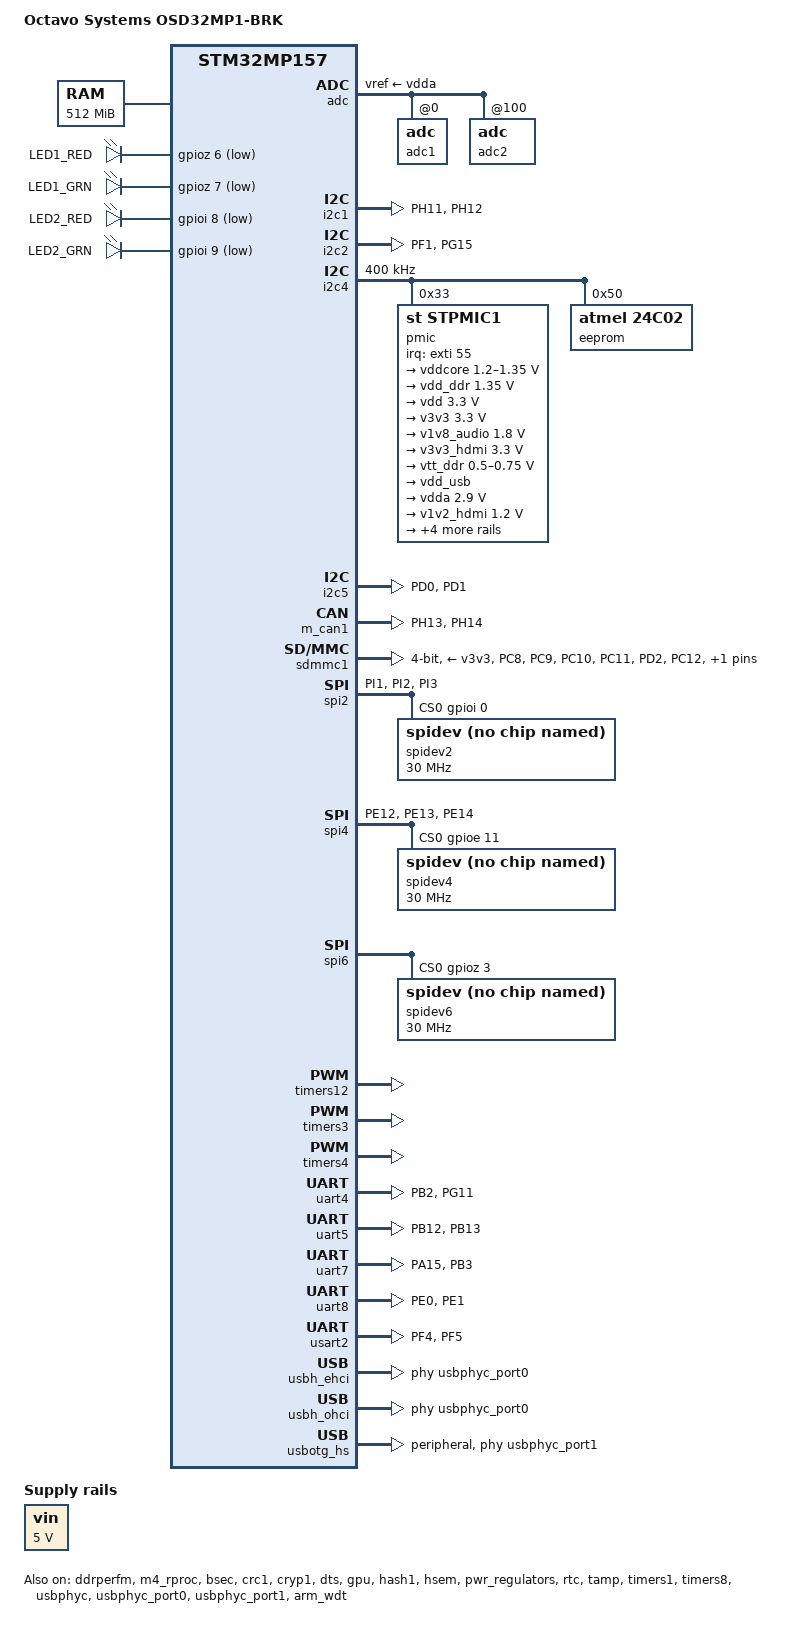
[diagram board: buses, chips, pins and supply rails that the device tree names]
// SPDX-License-Identifier: (GPL-2.0-or-later OR BSD-3-Clause)
/*
 * Copyright (C) 2024, Octavo Systems - All Rights Reserved
 * Author: Neeraj Dantu
 */

/dts-v1/;

#include <dt-bindings/pinctrl/stm32-pinfunc.h>
#include "stm32mp157.dtsi"
#include "stm32mp15xf.dtsi"
#include "stm32mp15xxac-pinctrl.dtsi"
#include "stm32mp15-m4-srm.dtsi"
#include "stm32mp157f-osd32mp1-brk-scmi.dtsi"
#include <dt-bindings/gpio/gpio.h>
#include <dt-bindings/mfd/st,stpmic1.h>
#include <dt-bindings/rtc/rtc-stm32.h>

/ {
	model = "Octavo Systems OSD32MP1-BRK";
	compatible = "oct,stm32mp157f-osd32mp1-brk", "st,stm32mp157";

	memory@c0000000 {
		device_type = "memory";
		reg = <0xc0000000 0x20000000>;
	};

	reserved-memory {
		#address-cells = <1>;
		#size-cells = <1>;
		ranges;

		mcuram2: mcuram2@10000000 {
			compatible = "shared-dma-pool";
			reg = <0x10000000 0x40000>;
			no-map;
		};

		vdev0vring0: vdev0vring0@10040000 {
			compatible = "shared-dma-pool";
			reg = <0x10040000 0x1000>;
			no-map;
		};

		vdev0vring1: vdev0vring1@10041000 {
			compatible = "shared-dma-pool";
			reg = <0x10041000 0x1000>;
			no-map;
		};

		vdev0buffer: vdev0buffer@10042000 {
			compatible = "shared-dma-pool";
			reg = <0x10042000 0x4000>;
			no-map;
		};

		mcu_rsc_table: mcu-rsc-table@10048000 {
			compatible = "shared-dma-pool";
			reg = <0x10048000 0x8000>;
			no-map;
		};

		mcuram: mcuram@30000000 {
			compatible = "shared-dma-pool";
			reg = <0x30000000 0x40000>;
			no-map;
		};

		retram: retram@38000000 {
			compatible = "shared-dma-pool";
			reg = <0x38000000 0x10000>;
			no-map;
		};

		gpu_reserved: gpu@d4000000 {
			reg = <0xd4000000 0x4000000>;
			no-map;
		};

		/* global autoconfigured region for contiguous allocations */
		linux,cma {
			compatible = "shared-dma-pool";
			reusable;
			size = <0x8000000>;
			alignment = <0x2000>;
			linux,cma-default;
		};
	};

	aliases {
		i2c4 = &i2c4;
		i2c1 = &i2c1;
		i2c2 = &i2c2;
		i2c5 = &i2c5;
		serial0 = &uart4;
		serial2 = &usart2;
		serial5 = &uart5;
		serial7 = &uart7;
		serial8 = &uart8;
	};

	chosen {
		stdout-path = "serial0:115200n8";
	};

	vin: vin {
		compatible = "regulator-fixed";
		regulator-name = "vin";
		regulator-min-microvolt = <5000000>;
		regulator-max-microvolt = <5000000>;
		regulator-always-on;
	};
	
	led{
		compatible = "gpio-leds";

		red1{
			label = "LED1_RED";
			gpios = <&gpioz 6 GPIO_ACTIVE_LOW>;
			linux,default-trigger = "heartbeat";
			status = "okay";
			default-state = "off";
		};

		green1{
			label = "LED1_GRN";
			gpios = <&gpioz 7 GPIO_ACTIVE_LOW>;
			status = "okay";
			default-state = "on";
		};

		red2{
			label = "LED2_RED";
			gpios = <&gpioi 8 GPIO_ACTIVE_LOW>;
			status = "okay";
			default-state = "off";
		};

		green2{
			label = "LED2_GRN";
			gpios = <&gpioi 9 GPIO_ACTIVE_LOW>;
			default-state = "off";
		};
	};
}; /*root*/

&pinctrl {

	fdcan1_pins_mx: fdcan1_mx-0 {
		pins1 {
			pinmux = <STM32_PINMUX('H', 13, AF9)>; /* FDCAN1_TX */
			bias-disable;
			drive-push-pull;
			slew-rate = <0>;
		};
		pins2 {
			pinmux = <STM32_PINMUX('H', 14, AF9)>; /* FDCAN1_RX */
			bias-disable;
		};
	};

	fdcan1_sleep_pins_mx: fdcan1_sleep_mx-0 {
		pins {
			pinmux = <STM32_PINMUX('H', 13, ANALOG)>, /* FDCAN1_TX */
					 <STM32_PINMUX('H', 14, ANALOG)>; /* FDCAN1_RX */
		};
	};

	i2c1_pins_mx: i2c1_mx-0 {
		pins {
			pinmux = <STM32_PINMUX('H', 11, AF5)>, /* I2C1_SCL */
					 <STM32_PINMUX('H', 12, AF5)>; /* I2C1_SDA */
			bias-disable;
			drive-open-drain;
			slew-rate = <0>;
		};
	};

	i2c1_sleep_pins_mx: i2c1_sleep_mx-0 {
		pins {
			pinmux = <STM32_PINMUX('H', 11, ANALOG)>, /* I2C1_SCL */
					 <STM32_PINMUX('H', 12, ANALOG)>; /* I2C1_SDA */
		};
	};

	i2c2_pins_mx: i2c2_mx-0 {
		pins {
			pinmux = <STM32_PINMUX('F', 1, AF4)>, /* I2C2_SCL */
					 <STM32_PINMUX('G', 15, AF4)>; /* I2C2_SDA */
			bias-disable;
			drive-open-drain;
			slew-rate = <0>;
		};
	};

	i2c2_sleep_pins_mx: i2c2_sleep_mx-0 {
		pins {
			pinmux = <STM32_PINMUX('F', 1, ANALOG)>, /* I2C2_SCL */
					 <STM32_PINMUX('G', 15, ANALOG)>; /* I2C2_SDA */
		};
	};

	i2c5_pins_mx: i2c5_mx-0 {
		pins {
			pinmux = <STM32_PINMUX('D', 0, AF4)>, /* I2C5_SDA */
					 <STM32_PINMUX('D', 1, AF4)>; /* I2C5_SCL */
			bias-disable;
			drive-open-drain;
			slew-rate = <0>;
		};
	};

	i2c5_sleep_pins_mx: i2c5_sleep_mx-0 {
		pins {
			pinmux = <STM32_PINMUX('D', 0, ANALOG)>, /* I2C5_SDA */
					 <STM32_PINMUX('D', 1, ANALOG)>; /* I2C5_SCL */
		};
	};

	sdmmc1_pins_mx: sdmmc1_mx-0 {
		pins1 {
			pinmux = <STM32_PINMUX('C', 8, AF12)>, /* SDMMC1_D0 */
					 <STM32_PINMUX('C', 9, AF12)>, /* SDMMC1_D1 */
					 <STM32_PINMUX('C', 10, AF12)>, /* SDMMC1_D2 */
					 <STM32_PINMUX('C', 11, AF12)>, /* SDMMC1_D3 */
					 <STM32_PINMUX('D', 2, AF12)>; /* SDMMC1_CMD */
			bias-disable;
			drive-push-pull;
			slew-rate = <1>;
		};
		pins2 {
			pinmux = <STM32_PINMUX('C', 12, AF12)>; /* SDMMC1_CK */
			bias-disable;
			drive-push-pull;
			slew-rate = <3>;
		};
	};

	sdmmc1_opendrain_pins_mx: sdmmc1_opendrain_mx-0 {
		pins1 {
			pinmux = <STM32_PINMUX('C', 8, AF12)>, /* SDMMC1_D0 */
					 <STM32_PINMUX('C', 9, AF12)>, /* SDMMC1_D1 */
					 <STM32_PINMUX('C', 10, AF12)>, /* SDMMC1_D2 */
					 <STM32_PINMUX('C', 11, AF12)>; /* SDMMC1_D3 */
			bias-disable;
			drive-push-pull;
			slew-rate = <1>;
		};
		pins2 {
			pinmux = <STM32_PINMUX('C', 12, AF12)>; /* SDMMC1_CK */
			bias-disable;
			drive-push-pull;
			slew-rate = <3>;
		};
		pins3 {
			pinmux = <STM32_PINMUX('D', 2, AF12)>; /* SDMMC1_CMD */
			bias-disable;
			drive-open-drain;
			slew-rate = <1>;
		};
	};

	sdmmc1_sleep_pins_mx: sdmmc1_sleep_mx-0 {
		pins {
			pinmux = <STM32_PINMUX('C', 8, ANALOG)>, /* SDMMC1_D0 */
					 <STM32_PINMUX('C', 9, ANALOG)>, /* SDMMC1_D1 */
					 <STM32_PINMUX('C', 10, ANALOG)>, /* SDMMC1_D2 */
					 <STM32_PINMUX('C', 11, ANALOG)>, /* SDMMC1_D3 */
					 <STM32_PINMUX('C', 12, ANALOG)>, /* SDMMC1_CK */
					 <STM32_PINMUX('D', 2, ANALOG)>; /* SDMMC1_CMD */
		};
	};

	spi2_pins_mx: spi2_mx-0 {
		pins {
			pinmux = <STM32_PINMUX('I', 1, AF5)>, /* SPI2_SCK */
					 <STM32_PINMUX('I', 2, AF5)>, /* SPI2_MISO */
					 <STM32_PINMUX('I', 3, AF5)>; /* SPI2_MOSI */
			bias-disable;
			drive-push-pull;
			slew-rate = <1>;
		};
	};

	spi2_sleep_pins_mx: spi2_sleep_mx-0 {
		pins {
			pinmux = <STM32_PINMUX('I', 1, ANALOG)>, /* SPI2_SCK */
					 <STM32_PINMUX('I', 2, ANALOG)>, /* SPI2_MISO */
					 <STM32_PINMUX('I', 3, ANALOG)>; /* SPI2_MOSI */
		};
	};

	spi4_pins_mx: spi4_mx-0 {
		pins {
			pinmux = <STM32_PINMUX('E', 12, AF5)>, /* SPI4_SCK */
					 <STM32_PINMUX('E', 13, AF5)>, /* SPI4_MISO */
					 <STM32_PINMUX('E', 14, AF5)>; /* SPI4_MOSI */
			bias-disable;
			drive-push-pull;
			slew-rate = <1>;
		};
	};

	spi4_sleep_pins_mx: spi4_sleep_mx-0 {
		pins {
			pinmux = <STM32_PINMUX('E', 12, ANALOG)>, /* SPI4_SCK */
					 <STM32_PINMUX('E', 13, ANALOG)>, /* SPI4_MISO */
					 <STM32_PINMUX('E', 14, ANALOG)>; /* SPI4_MOSI */
		};
	};

	tim1_pins_mx: tim1_mx-0 {
		pins {
			pinmux = <STM32_PINMUX('A', 9, AF1)>; /* TIM1_CH2 */
			bias-disable;
			drive-push-pull;
			slew-rate = <0>;
		};
	};

	tim1_sleep_pins_mx: tim1_sleep_mx-0 {
		pins {
			pinmux = <STM32_PINMUX('A', 9, ANALOG)>; /* TIM1_CH2 */
		};
	};

	tim12_pwm_pins_mx: tim12_pwm_mx-0 {
		pins {
			pinmux = <STM32_PINMUX('H', 9, AF2)>; /* TIM12_CH2 */
			bias-disable;
			drive-push-pull;
			slew-rate = <0>;
		};
	};

	tim12_pwm_sleep_pins_mx: tim12_pwm_sleep_mx-0 {
		pins {
			pinmux = <STM32_PINMUX('H', 9, ANALOG)>; /* TIM12_CH2 */
		};
	};

	tim3_pwm_pins_mx: tim3_pwm_mx-0 {
		pins {
			pinmux = <STM32_PINMUX('B', 5, AF2)>; /* TIM3_CH2 */
			bias-disable;
			drive-push-pull;
			slew-rate = <0>;
		};
	};

	tim3_pwm_sleep_pins_mx: tim3_pwm_sleep_mx-0 {
		pins {
			pinmux = <STM32_PINMUX('B', 5, ANALOG)>; /* TIM3_CH2 */
		};
	};

	tim4_pwm_pins_mx: tim4_pwm_mx-0 {
		pins {
			pinmux = <STM32_PINMUX('B', 7, AF2)>; /* TIM4_CH2 */
			bias-disable;
			drive-push-pull;
			slew-rate = <0>;
		};
	};

	tim4_pwm_sleep_pins_mx: tim4_pwm_sleep_mx-0 {
		pins {
			pinmux = <STM32_PINMUX('B', 7, ANALOG)>; /* TIM4_CH2 */
		};
	};

	tim8_pins_mx: tim8_mx-0 {
		pins {
			pinmux = <STM32_PINMUX('I', 6, AF3)>; /* TIM8_CH2 */
			bias-disable;
			drive-push-pull;
			slew-rate = <0>;
		};
	};

	tim8_sleep_pins_mx: tim8_sleep_mx-0 {
		pins {
			pinmux = <STM32_PINMUX('I', 6, ANALOG)>; /* TIM8_CH2 */
		};
	};

	uart4_pins_mx: uart4_mx-0 {
		pins1 {
			pinmux = <STM32_PINMUX('B', 2, AF8)>; /* UART4_RX */
			bias-pull-up;
		};
		pins2 {
			pinmux = <STM32_PINMUX('G', 11, AF6)>; /* UART4_TX */
			bias-disable;
			drive-push-pull;
			slew-rate = <0>;
		};
	};

	uart4_idle_pins_mx: uart4_idle_mx-0 {
		pins1 {
			pinmux = <STM32_PINMUX('B', 2, AF8)>; /* UART4_RX */
			bias-pull-up;
		};
		pins2 {
			pinmux = <STM32_PINMUX('G', 11, ANALOG)>; /* UART4_TX */
		};
	};

	uart4_sleep_pins_mx: uart4_sleep_mx-0 {
		pins {
			pinmux = <STM32_PINMUX('B', 2, ANALOG)>, /* UART4_RX */
					 <STM32_PINMUX('G', 11, ANALOG)>; /* UART4_TX */
		};
	};

	uart5_pins_mx: uart5_mx-0 {
		pins1 {
			pinmux = <STM32_PINMUX('B', 12, AF14)>; /* UART5_RX */
			bias-disable;
		};
		pins2 {
			pinmux = <STM32_PINMUX('B', 13, AF14)>; /* UART5_TX */
			bias-disable;
			drive-push-pull;
			slew-rate = <0>;
		};
	};

	uart5_idle_pins_mx: uart5_idle_mx-0 {
		pins1 {
			pinmux = <STM32_PINMUX('B', 12, AF14)>; /* UART5_RX */
			bias-disable;
		};
		pins2 {
			pinmux = <STM32_PINMUX('B', 13, ANALOG)>; /* UART5_TX */
		};
	};

	uart5_sleep_pins_mx: uart5_sleep_mx-0 {
		pins {
			pinmux = <STM32_PINMUX('B', 12, ANALOG)>, /* UART5_RX */
					 <STM32_PINMUX('B', 13, ANALOG)>; /* UART5_TX */
		};
	};

	uart7_pins_mx: uart7_mx-0 {
		pins1 {
			pinmux = <STM32_PINMUX('A', 15, AF13)>; /* UART7_TX */
			bias-disable;
			drive-push-pull;
			slew-rate = <0>;
		};
		pins2 {
			pinmux = <STM32_PINMUX('B', 3, AF13)>; /* UART7_RX */
			bias-disable;
		};
	};

	uart7_idle_pins_mx: uart7_idle_mx-0 {
		pins1 {
			pinmux = <STM32_PINMUX('A', 15, ANALOG)>; /* UART7_TX */
		};
		pins2 {
			pinmux = <STM32_PINMUX('B', 3, AF13)>; /* UART7_RX */
			bias-disable;
		};
	};

	uart7_sleep_pins_mx: uart7_sleep_mx-0 {
		pins {
			pinmux = <STM32_PINMUX('A', 15, ANALOG)>, /* UART7_TX */
					 <STM32_PINMUX('B', 3, ANALOG)>; /* UART7_RX */
		};
	};

	uart8_pins_mx: uart8_mx-0 {
		pins1 {
			pinmux = <STM32_PINMUX('E', 0, AF8)>; /* UART8_RX */
			bias-disable;
		};
		pins2 {
			pinmux = <STM32_PINMUX('E', 1, AF8)>; /* UART8_TX */
			bias-disable;
			drive-push-pull;
			slew-rate = <0>;
		};
	};

	uart8_idle_pins_mx: uart8_idle_mx-0 {
		pins1 {
			pinmux = <STM32_PINMUX('E', 0, AF8)>; /* UART8_RX */
			bias-disable;
		};
		pins2 {
			pinmux = <STM32_PINMUX('E', 1, ANALOG)>; /* UART8_TX */
		};
	};

	uart8_sleep_pins_mx: uart8_sleep_mx-0 {
		pins {
			pinmux = <STM32_PINMUX('E', 0, ANALOG)>, /* UART8_RX */
					 <STM32_PINMUX('E', 1, ANALOG)>; /* UART8_TX */
		};
	};

	usart2_pins_mx: usart2_mx-0 {
		pins1 {
			pinmux = <STM32_PINMUX('F', 4, AF7)>; /* USART2_RX */
			bias-disable;
		};
		pins2 {
			pinmux = <STM32_PINMUX('F', 5, AF7)>; /* USART2_TX */
			bias-disable;
			drive-push-pull;
			slew-rate = <0>;
		};
	};

	usart2_idle_pins_mx: usart2_idle_mx-0 {
		pins1 {
			pinmux = <STM32_PINMUX('F', 4, AF7)>; /* USART2_RX */
			bias-disable;
		};
		pins2 {
			pinmux = <STM32_PINMUX('F', 5, ANALOG)>; /* USART2_TX */
		};
	};

	usart2_sleep_pins_mx: usart2_sleep_mx-0 {
		pins {
			pinmux = <STM32_PINMUX('F', 4, ANALOG)>, /* USART2_RX */
					 <STM32_PINMUX('F', 5, ANALOG)>; /* USART2_TX */
		};
	};
};

&pinctrl_z {

	i2c4_pins_z_mx: i2c4_mx-0 {
		pins {
			pinmux = <STM32_PINMUX('Z', 4, AF6)>, /* I2C4_SCL */
					 <STM32_PINMUX('Z', 5, AF6)>; /* I2C4_SDA */
			bias-pull-up;
			drive-open-drain;
			slew-rate = <0>;
		};
	};

	i2c4_sleep_pins_z_mx: i2c4_sleep_mx-0 {
		pins {
			pinmux = <STM32_PINMUX('Z', 4, ANALOG)>, /* I2C4_SCL */
					 <STM32_PINMUX('Z', 5, ANALOG)>; /* I2C4_SDA */
		};
	};

	spi6_pins_z_mx: spi6_mx-0 {
		pins {
			pinmux = <STM32_PINMUX('Z', 0, AF8)>, /* SPI6_SCK */
					 <STM32_PINMUX('Z', 1, AF8)>, /* SPI6_MISO */
					 <STM32_PINMUX('Z', 2, AF8)>; /* SPI6_MOSI */
			bias-disable;
			drive-push-pull;
			slew-rate = <1>;
		};
	};

	spi6_sleep_pins_z_mx: spi6_sleep_mx-0 {
		pins {
			pinmux = <STM32_PINMUX('Z', 0, ANALOG)>, /* SPI6_SCK */
					 <STM32_PINMUX('Z', 1, ANALOG)>, /* SPI6_MISO */
					 <STM32_PINMUX('Z', 2, ANALOG)>; /* SPI6_MOSI */
		};
	};
};

&ddrperfm {
	status = "okay";
};

&m4_rproc{
	mboxes = <&ipcc 0>, <&ipcc 1>, <&ipcc 2>;
	mbox-names = "vq0", "vq1", "shutdown";
	status = "okay";

	memory-region = <&retram>, <&mcuram>, <&mcuram2>, <&vdev0vring0>,
			<&vdev0vring1>, <&vdev0buffer>, <&mcu_rsc_table>;
	mboxes = <&ipcc 0>, <&ipcc 1>, <&ipcc 2>, <&ipcc 3>;
	mbox-names = "vq0", "vq1", "shutdown", "detach";
	interrupt-parent = <&exti>;
	interrupts = <68 1>;
	wakeup-source;
};

&adc{
	status = "okay";
	vdd-supply = <&vdd>;
	vdda-supply = <&vdda>;
	vref-supply = <&vdda>;
	status = "okay";
	adc1: adc@0 {
		st,min-sample-time-nsecs = <5000>;
		st,adc-channels = <0 1>;
		status = "okay";
	};

	adc2: adc@100 {
		status = "okay";
	};

	adc_temp: temp {
		status = "okay";
	};
};

&bsec{
	status = "okay";
};

&crc1{
	status = "okay";
};

&cryp1{
	status = "okay";
};

&dma1{
	status = "okay";
};

&dma2{
	status = "okay";
};

&dmamux1{
	status = "okay";

	dma-masters = <&dma1 &dma2>;
	dma-channels = <16>;
};

&dts{
	status = "okay";
};

&gpu{
	status = "okay";
};

&hash1{
	status = "okay";
};

&hsem{
	status = "okay";
};

&i2c1{
	pinctrl-names = "default", "sleep";
	pinctrl-0 = <&i2c1_pins_mx>;
	pinctrl-1 = <&i2c1_sleep_pins_mx>;
	status = "okay";
	/delete-property/dmas;
	/delete-property/dma-names;
};

&i2c2{
	pinctrl-names = "default", "sleep";
	pinctrl-0 = <&i2c2_pins_mx>;
	pinctrl-1 = <&i2c2_sleep_pins_mx>;
	status = "okay";
	/delete-property/dmas;
	/delete-property/dma-names;
};

&i2c4{
	pinctrl-names = "default", "sleep";
	pinctrl-0 = <&i2c4_pins_z_mx>;
	pinctrl-1 = <&i2c4_sleep_pins_z_mx>;
	status = "okay";
	i2c-scl-rising-time-ns = <185>;
	i2c-scl-falling-time-ns = <20>;
	clock-frequency = <400000>;
	/delete-property/dmas;
	/delete-property/dma-names;

	pmic: stpmic@33 {
		compatible = "st,stpmic1";
		reg = <0x33>;
		interrupts-extended = <&exti 55 IRQ_TYPE_EDGE_FALLING>;
		interrupt-controller;
		#interrupt-cells = <2>;
		status = "okay";

		regulators {
			compatible = "st,stpmic1-regulators";
			buck1-supply = <&vin>;
			buck2-supply = <&vin>;
			buck3-supply = <&vin>;
			buck4-supply = <&vin>;
			ldo1-supply = <&v3v3>;
			ldo2-supply = <&vin>;
			ldo3-supply = <&vdd_ddr>;
			ldo4-supply = <&vin>;
			ldo5-supply = <&vin>;
			ldo6-supply = <&v3v3>;
			vref_ddr-supply = <&vin>;
			boost-supply = <&vin>;
			pwr_sw1-supply = <&bst_out>;
			pwr_sw2-supply = <&bst_out>;

			vddcore: buck1 {
				regulator-name = "vddcore";
				regulator-min-microvolt = <1200000>;
				regulator-max-microvolt = <1350000>;
				regulator-always-on;
				regulator-initial-mode = <0>;
				regulator-over-current-protection;
			};

			vdd_ddr: buck2 {
				regulator-name = "vdd_ddr";
				regulator-min-microvolt = <1350000>;
				regulator-max-microvolt = <1350000>;
				regulator-always-on;
				regulator-initial-mode = <0>;
				regulator-over-current-protection;
			};

			vdd: buck3 {
				regulator-name = "vdd";
				regulator-min-microvolt = <3300000>;
				regulator-max-microvolt = <3300000>;
				regulator-always-on;
				st,mask-reset;
				regulator-initial-mode = <0>;
				regulator-over-current-protection;
			};

			v3v3: buck4 {
				regulator-name = "v3v3";
				regulator-min-microvolt = <3300000>;
				regulator-max-microvolt = <3300000>;
				regulator-always-on;
				regulator-over-current-protection;
				regulator-initial-mode = <0>;
			};

			v1v8_audio: ldo1 {
				regulator-name = "v1v8_audio";
				regulator-min-microvolt = <1800000>;
				regulator-max-microvolt = <1800000>;
				regulator-always-on;
				interrupts = <IT_CURLIM_LDO1 0>;
			};

			v3v3_hdmi: ldo2 {
				regulator-name = "v3v3_hdmi";
				regulator-min-microvolt = <3300000>;
				regulator-max-microvolt = <3300000>;
				regulator-always-on;
				interrupts = <IT_CURLIM_LDO2 0>;
			};

			vtt_ddr: ldo3 {
				regulator-name = "vtt_ddr";
				regulator-min-microvolt = <500000>;
				regulator-max-microvolt = <750000>;
				regulator-always-on;
				regulator-over-current-protection;
			};

			vdd_usb: ldo4 {
				regulator-name = "vdd_usb";
				interrupts = <IT_CURLIM_LDO4 0>;
			};

			vdda: ldo5 {
				regulator-name = "vdda";
				regulator-min-microvolt = <2900000>;
				regulator-max-microvolt = <2900000>;
				interrupts = <IT_CURLIM_LDO5 0>;
				regulator-boot-on;
			};

			v1v2_hdmi: ldo6 {
				regulator-name = "v1v2_hdmi";
				regulator-min-microvolt = <1200000>;
				regulator-max-microvolt = <1200000>;
				regulator-always-on;
				interrupts = <IT_CURLIM_LDO6 0>;
			};

			vref_ddr: vref-ddr {
				regulator-name = "vref_ddr";
				regulator-always-on;
			};

			bst_out: boost {
				regulator-name = "bst_out";
				interrupts = <IT_OCP_BOOST 0>;
			};

			vbus_otg: pwr-sw1 {
				regulator-name = "vbus_otg";
				interrupts = <IT_OCP_OTG 0>;
			};

			vbus_sw: pwr-sw2 {
				regulator-name = "vbus_sw";
				interrupts = <IT_OCP_SWOUT 0>;
				regulator-active-discharge = <1>;
			};
		};

		onkey {
			compatible = "st,stpmic1-onkey";
			interrupts = <IT_PONKEY_F 0>, <IT_PONKEY_R 0>;
			interrupt-names = "onkey-falling", "onkey-rising";
			power-off-time-sec = <10>;
			status = "okay";
		};

		watchdog {
			compatible = "st,stpmic1-wdt";
			status = "disabled";
		};
	};
	
	eeprom@50 {
		compatible = "atmel,24c02";
		reg = <0x50>;
		pagesize = <16>;
		address-width = <16>;
	};
};

&i2c5{
	pinctrl-names = "default", "sleep";
	pinctrl-0 = <&i2c5_pins_mx>;
	pinctrl-1 = <&i2c5_sleep_pins_mx>;
	status = "okay";
	/delete-property/dmas;
	/delete-property/dma-names;
};

&ipcc{
	status = "okay";
};

&m_can1{
	pinctrl-names = "default", "sleep";
	pinctrl-0 = <&fdcan1_pins_mx>;
	pinctrl-1 = <&fdcan1_sleep_pins_mx>;
	status = "okay";
};

&mdma1{
	status = "okay";
};

&pwr_regulators{
	status = "okay";
	vdd-supply = <&vdd>;
	vdd_3v3_usbfs-supply = <&vdd_usb>;
};

&rcc{
	status = "okay";
};

&rtc{
	status = "okay";
};

&sdmmc1{
	pinctrl-names = "default", "opendrain", "sleep";
	pinctrl-0 = <&sdmmc1_pins_mx>;
	pinctrl-1 = <&sdmmc1_opendrain_pins_mx>;
	pinctrl-2 = <&sdmmc1_sleep_pins_mx>;
	status = "okay";
	/*cd-gpios = <&gpioe 7 (GPIO_ACTIVE_LOW | GPIO_PULL_UP)>;*/ /*mp1-red*/
	cd-gpios = <&gpiog 7 (GPIO_ACTIVE_LOW | GPIO_PULL_UP)>;  /*mp1-brk*/
	disable-wp;
	st,neg-edge;
	bus-width = <4>;
	vmmc-supply = <&v3v3>;
};

&spi2{
	pinctrl-names = "default", "sleep";
	pinctrl-0 = <&spi2_pins_mx>;
	pinctrl-1 = <&spi2_sleep_pins_mx>;
	status = "okay";
	cs-gpios = <&gpioi 0 0>;
	spidev2: spidev2@0{
		compatible = "rohm,dh2228fv";
		spi-max-frequency = <30000000>;
		reg = <0>;
	};
};

&spi4{
	pinctrl-names = "default", "sleep";
	pinctrl-0 = <&spi4_pins_mx>;
	pinctrl-1 = <&spi4_sleep_pins_mx>;
	status = "okay";
	cs-gpios = <&gpioe 11 0>;
	spidev4: spidev4@0{
		compatible = "rohm,dh2228fv";
		spi-max-frequency = <30000000>;
		reg = <0>;
	};
};

&spi6{
	pinctrl-names = "default", "sleep";
	pinctrl-0 = <&spi6_pins_z_mx>;
	pinctrl-1 = <&spi6_sleep_pins_z_mx>;
	status = "okay";
	cs-gpios = <&gpioz 3 0>;
	spidev6: spidev6@0{
		compatible = "rohm,dh2228fv";
		spi-max-frequency = <30000000>;
		reg = <0>;
	};
};

&tamp{
	status = "okay";
};

&timers1{
	pinctrl-names = "default", "sleep";
	pinctrl-0 = <&tim1_pins_mx>;
	pinctrl-1 = <&tim1_sleep_pins_mx>;
	status = "okay";
	/delete-property/dmas;
	/delete-property/dma-names;
};

&timers12{
	status = "okay";
	/delete-property/dmas;
	/delete-property/dma-names;

	pwm{
		pinctrl-names = "default", "sleep";
		pinctrl-0 = <&tim12_pwm_pins_mx>;
		pinctrl-1 = <&tim12_pwm_sleep_pins_mx>;
		status = "okay";
	};
};

&timers3{
	status = "okay";
	/delete-property/dmas;
	/delete-property/dma-names;

	pwm{
		pinctrl-names = "default", "sleep";
		pinctrl-0 = <&tim3_pwm_pins_mx>;
		pinctrl-1 = <&tim3_pwm_sleep_pins_mx>;
		status = "okay";
	};
};

&timers4{
	status = "okay";
	/delete-property/dmas;
	/delete-property/dma-names;

	pwm{
		pinctrl-names = "default", "sleep";
		pinctrl-0 = <&tim4_pwm_pins_mx>;
		pinctrl-1 = <&tim4_pwm_sleep_pins_mx>;
		status = "okay";
	};
};

&timers8{
	pinctrl-names = "default", "sleep";
	pinctrl-0 = <&tim8_pins_mx>;
	pinctrl-1 = <&tim8_sleep_pins_mx>;
	status = "okay";
	/delete-property/dmas;
	/delete-property/dma-names;
};

&uart4{
	pinctrl-names = "default", "idle", "sleep";
	pinctrl-0 = <&uart4_pins_mx>;
	pinctrl-1 = <&uart4_idle_pins_mx>;
	pinctrl-2 = <&uart4_sleep_pins_mx>;
	status = "okay";
	/delete-property/dmas;
	/delete-property/dma-names;
};

&uart5{
	pinctrl-names = "default", "idle", "sleep";
	pinctrl-0 = <&uart5_pins_mx>;
	pinctrl-1 = <&uart5_idle_pins_mx>;
	pinctrl-2 = <&uart5_sleep_pins_mx>;
	status = "okay";
	/delete-property/dmas;
	/delete-property/dma-names;
};

&uart7{
	pinctrl-names = "default", "idle", "sleep";
	pinctrl-0 = <&uart7_pins_mx>;
	pinctrl-1 = <&uart7_idle_pins_mx>;
	pinctrl-2 = <&uart7_sleep_pins_mx>;
	status = "okay";
	/delete-property/dmas;
	/delete-property/dma-names;
};

&uart8{
	pinctrl-names = "default", "idle", "sleep";
	pinctrl-0 = <&uart8_pins_mx>;
	pinctrl-1 = <&uart8_idle_pins_mx>;
	pinctrl-2 = <&uart8_sleep_pins_mx>;
	status = "okay";
	/delete-property/dmas;
	/delete-property/dma-names;
};

&usart2{
	pinctrl-names = "default", "idle", "sleep";
	pinctrl-0 = <&usart2_pins_mx>;
	pinctrl-1 = <&usart2_idle_pins_mx>;
	pinctrl-2 = <&usart2_sleep_pins_mx>;
	status = "okay";
	/delete-property/dmas;
	/delete-property/dma-names;
};

&usbh_ehci{
	status = "okay";
	phys = <&usbphyc_port0>;
};

&usbh_ohci{
	status = "okay";
	phys = <&usbphyc_port0>;
};

&usbotg_hs{
	status = "okay";
	compatible = "st,stm32mp15-hsotg", "snps,dwc2";
	phys = <&usbphyc_port1 0>;    /* 0: UTMI switch selects the OTG controller */
	phy-names = "usb2-phy";
	dr_mode = "peripheral";       /* Peripheral mode no OTG */
	usb-role-switch;
	role-switch-default-mode = "peripheral";
	status = "okay";
	g-rx-fifo-size = <512>;
	g-np-tx-fifo-size = <32>;
	g-tx-fifo-size = <256 16 16 16 16 16 16 16>;
	u-boot,dm-pre-reloc;
	u-boot,force-b-session-valid;
	hnp-srp-disable;
};

&usbphyc{
	status = "okay";
};

&usbphyc_port0{
	status = "okay";
};

&usbphyc_port1{
	status = "okay";
};

&arm_wdt {
	timeout-sec = <32>;
	status = "okay";
};

&cpu0{
	cpu-supply = <&vddcore>;
};

&cpu1{
	cpu-supply = <&vddcore>;
};

&usbphyc_port0 {
	phy-supply = <&vdd_usb>;
	st,tune-hs-dc-level = <2>;
	st,enable-fs-rftime-tuning;
	st,enable-hs-rftime-reduction;
	st,trim-hs-current = <15>;
	st,trim-hs-impedance = <1>;
	st,tune-squelch-level = <3>;
	st,tune-hs-rx-offset = <2>;
	st,no-lsfs-sc;
};

&usbphyc_port1 {
	phy-supply = <&vdd_usb>;
	st,tune-hs-dc-level = <2>;
	st,enable-fs-rftime-tuning;
	st,enable-hs-rftime-reduction;
	st,trim-hs-current = <15>;
	st,trim-hs-impedance = <1>;
	st,tune-squelch-level = <3>;
	st,tune-hs-rx-offset = <2>;
	st,no-lsfs-sc;
};
